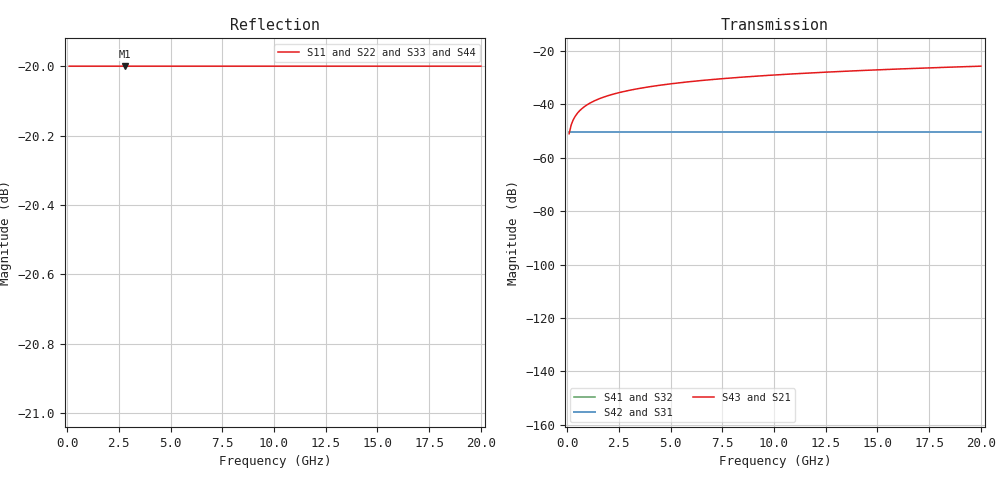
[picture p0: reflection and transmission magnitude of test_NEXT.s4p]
! Generated test file
# GHz S RI R 50
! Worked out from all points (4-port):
!   200 points, 100 MHz to 20 GHz, reference 50 ohm
!   strongest paths, dB at 100 MHz, 5.1 GHz, 10.1 GHz, 15.1 GHz, 20 GHz:
!     S43: -51.0, -32.2, -29.0, -27.0, -25.7
!     S21: -51.0, -32.2, -29.0, -27.0, -25.7
!     S42: -50.5, -50.5, -50.5, -50.5, -50.5
!     S31: -50.5, -50.5, -50.5, -50.5, -50.5
!     S41: -, -, -, -, -
!     S32: -, -, -, -, -
!   lowest |S11| = -20.0 dB at 2.8 GHz (marker M1), VSWR 1.22, Z = 58.7 - j6.56 ohm
!   |S11| at or under -10 dB: start of sweep to end of sweep
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0.1  0.1 -0.00209  0.000862 -0.00268  0 -0.003  0 0
     0.000862 -0.00268  0.1 -0.00209  0 0  0 -0.003
     0 -0.003  0 0  0.1 -0.00209  0.000862 -0.00268
     0 0  0 -0.003  0.000862 -0.00268  0.1 -0.00209
0.3  0.0998 -0.00628  0.00155 -0.00492  0 -0.003  0 0
     0.00155 -0.00492  0.0998 -0.00628  0 0  0 -0.003
     0 -0.003  0 0  0.0998 -0.00628  0.00155 -0.00492
     0 0  0 -0.003  0.00155 -0.00492  0.0998 -0.00628
0.8  0.0986 -0.0167  0.00252 -0.00848  0 -0.003  0 0
     0.00252 -0.00848  0.0986 -0.0167  0 0  0 -0.003
     0 -0.003  0 0  0.0986 -0.0167  0.00252 -0.00848
     0 0  0 -0.003  0.00252 -0.00848  0.0986 -0.0167
2.8  0.0833 -0.0553  0.00395 -0.0172  0 -0.003  0 0
     0.00395 -0.0172  0.0833 -0.0553  0 0  0 -0.003
     0 -0.003  0 0  0.0833 -0.0553  0.00395 -0.0172
     0 0  0 -0.003  0.00395 -0.0172  0.0833 -0.0553
8.7  -0.0249 -0.0969  0.00134 -0.0328  0 -0.003  0 0
     0.00134 -0.0328  -0.0249 -0.0969  0 0  0 -0.003
     0 -0.003  0 0  -0.0249 -0.0969  0.00134 -0.0328
     0 0  0 -0.003  0.00134 -0.0328  -0.0249 -0.0969
14.5  -0.0995 -0.0105  -0.00613 -0.0431  0 -0.003  0 0
      -0.00613 -0.0431  -0.0995 -0.0105  0 0  0 -0.003
      0 -0.003  0 0  -0.0995 -0.0105  -0.00613 -0.0431
      0 0  0 -0.003  -0.00613 -0.0431  -0.0995 -0.0105
20  -0.05 0.0866  -0.0161 -0.0494  0 -0.003  0 0
    -0.0161 -0.0494  -0.05 0.0866  0 0  0 -0.003
    0 -0.003  0 0  -0.05 0.0866  -0.0161 -0.0494
    0 0  0 -0.003  -0.0161 -0.0494  -0.05 0.0866
